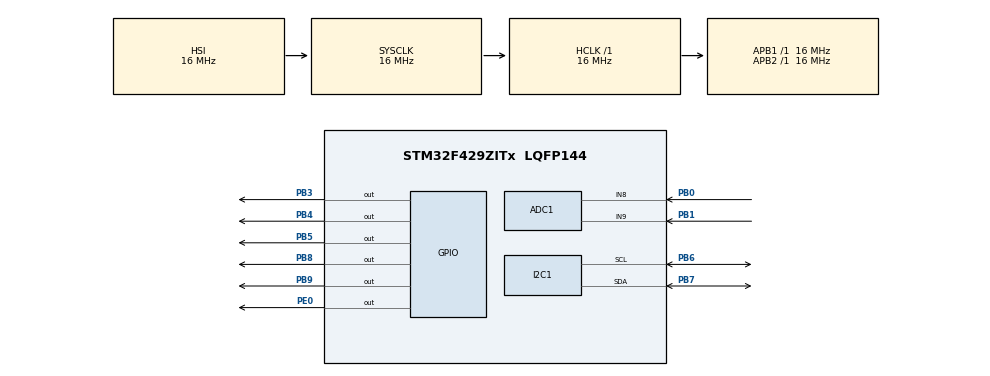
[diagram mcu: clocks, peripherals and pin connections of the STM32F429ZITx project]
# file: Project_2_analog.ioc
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ADC1.Channel-2\#ChannelRegularConversion=ADC_CHANNEL_8
ADC1.NbrOfConversionFlag=1
ADC1.Rank-2\#ChannelRegularConversion=1
ADC1.SamplingTime-2\#ChannelRegularConversion=ADC_SAMPLETIME_3CYCLES
ADC1.master=1
Mcu.Family=STM32F4
Mcu.Name=STM32F429ZITx
Mcu.Package=LQFP144
NVIC.ADC_IRQn=true\:0\:0\:false\:false\:true\:true\:true
NVIC.PriorityGroup=NVIC_PRIORITYGROUP_4
PB0.Signal=ADCx_IN8
PB1.Signal=ADCx_IN9
PB3.Signal=GPIO_Output
PB4.Signal=GPIO_Output
PB5.Signal=GPIO_Output
PB6.Mode=I2C
PB6.Signal=I2C1_SCL
PB7.Mode=I2C
PB7.Signal=I2C1_SDA
PB8.Signal=GPIO_Output
PB9.Signal=GPIO_Output
PE0.Signal=GPIO_Output
PH0/OSC_IN.Mode=HSE-External-Oscillator
PH0/OSC_IN.Signal=RCC_OSC_IN
PH1/OSC_OUT.Mode=HSE-External-Oscillator
PH1/OSC_OUT.Signal=RCC_OSC_OUT
ProjectManager.HeapSize=0x200
ProjectManager.StackSize=0x400
ProjectManager.TargetToolchain=STM32CubeIDE
RCC.48MHZClocksFreq_Value=48000000
RCC.AHBFreq_Value=16000000
RCC.APB1Freq_Value=16000000
RCC.APB1TimFreq_Value=16000000
RCC.APB2Freq_Value=16000000
RCC.APB2TimFreq_Value=16000000
RCC.CortexFreq_Value=16000000
RCC.HCLKFreq_Value=16000000
RCC.HSE_VALUE=25000000
RCC.HSI_VALUE=16000000
RCC.LSE_VALUE=32768
RCC.SYSCLKFreq_VALUE=16000000
RCC.VCOOutputFreq_Value=192000000
SH.ADCx_IN8.0=ADC1_IN8,IN8
SH.ADCx_IN9.0=ADC1_IN9,IN9
board=custom

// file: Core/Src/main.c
/* USER CODE BEGIN Header */
/**
  ******************************************************************************
  * @file           : main.c
  * @brief          : Main program body
  ******************************************************************************
  * @attention
  *
  * <h2><center>&copy; Copyright (c) 2022 STMicroelectronics.
  * All rights reserved.</center></h2>
  *
  * This software component is licensed by ST under BSD 3-Clause license,
  * the "License"; You may not use this file except in compliance with the
  * License. You may obtain a copy of the License at:
  *                        opensource.org/licenses/BSD-3-Clause
  *
  ******************************************************************************
  */
/* USER CODE END Header */

#include "main.h"

/* USER CODE BEGIN Includes */

#include <stdio.h>
#include <string.h>
#include "liquidcrystal_i2c.h"

/* USER CODE END Includes */

ADC_HandleTypeDef hadc1;

I2C_HandleTypeDef hi2c1;

void SystemClock_Config(void);
static void MX_GPIO_Init(void);
static void MX_I2C1_Init(void);
static void MX_ADC1_Init(void);

/* USER CODE BEGIN 0 */
float tempC, tempF;
int statusC = 0, statusF = 0;;
int count = 0;

void clear_lcd()
{
	if(tempC > 100)
	{
		statusC = 1;
	}
	if(tempF > 100)
	{
		statusF = 1;
	}
	if((tempC < 100 && statusC == 1) || (tempF < 100 && statusF == 1)){
		HD44780_Clear();
		statusC = 0;
		statusF = 0;
	}
}

float convert_data(int raw, char mode){
	float c = (float)raw/(float)10.5;
	if(mode == 'C') return c;
	if(mode == 'K') return c = (c*1.8) + 32;
	return 0.0;
}

uint16_t checkTemp(int range_of_tempC, int reage_of_tempF){
  uint16_t set_led[] = {0x3f /*>= 100*/, 0x3c /*>= 80*/, 0x38 /*>= 60*/, 0x30 /*>= 40*/, 0x20 /*>= 20*/, 0x00 /*>= 0*/};
  for (int i = 100;i<5;i -= 20){
    if(range_of_tempC >= i) return set_led[i];
    else return set_led[5];
  }
}

void led_display(int range_of_tempC, int reage_of_tempF){
  // C mode
  uint16_t set_led = checkTemp(range_of_tempC, reage_of_tempF);
  uint16_t pin[] = {GPIO_PIN_4, GPIO_PIN_5, GPIO_PIN_3, GPIO_PIN_8,GPIO_PIN_9, GPIO_PIN_0};
  for(int i=0;i<6;i++){
    HAL_GPIO_WritePin(GPIOB, pin[i], (set_led & (0x01<<i))>>i);
  }
}

/* USER CODE END 0 */

int main(void)
{
  /* USER CODE BEGIN 1 */
	int raw = 0;
	char msg[100];

  /* USER CODE END 1 */

  /* MCU Configuration--------------------------------------------------------*/

  /* Reset of all peripherals, Initializes the Flash interface and the Systick. */
  HAL_Init();

  /* Configure the system clock */
  SystemClock_Config();

  /* Initialize all configured peripherals */
  MX_GPIO_Init();
  MX_I2C1_Init();
  MX_ADC1_Init();
  /* USER CODE BEGIN 2 */

	HD44780_Init(2); // Define row
	HD44780_Clear(); // Clear Display
	HD44780_Backlight(); // Turn on Light
	HAL_ADC_Start(&hadc1);

  /* USER CODE END 2 */

  /* Infinite loop */
  while (1)
  {

    /* USER CODE BEGIN 3 */

	  // Read Temperature
	  HAL_ADC_Start(&hadc1);
	  HAL_ADC_PollForConversion(&hadc1, HAL_MAX_DELAY);
	  raw = HAL_ADC_GetValue(&hadc1);
	  HAL_ADC_Stop(&hadc1);

	  //Display
	  HD44780_Backlight();
	  tempC = convert_data(raw, 'C');
	  sprintf(msg, "TempC : %.1f C", tempC);
	  HD44780_SetCursor(0,0);
	  HD44780_PrintStr(msg);
	  tempF = convert_data(raw, 'K');
	  sprintf(msg, "TempF : %.1f F", tempF);
	  HD44780_SetCursor(0,1);
	  HD44780_PrintStr(msg);
	  clear_lcd();
	  led_display(int tempC, int tempF);
	  HAL_Delay(100);
	  count++;
	  if(count == 3) count =0;
  }
  /* USER CODE END 3 */
}

void SystemClock_Config(void)
{
  RCC_OscInitTypeDef RCC_OscInitStruct = {0};
  RCC_ClkInitTypeDef RCC_ClkInitStruct = {0};

  /** Configure the main internal regulator output voltage
  */
  __HAL_RCC_PWR_CLK_ENABLE();
  __HAL_PWR_VOLTAGESCALING_CONFIG(PWR_REGULATOR_VOLTAGE_SCALE3);
  /** Initializes the CPU, AHB and APB busses clocks
  */
  RCC_OscInitStruct.OscillatorType = RCC_OSCILLATORTYPE_HSI;
  RCC_OscInitStruct.HSIState = RCC_HSI_ON;
  RCC_OscInitStruct.HSICalibrationValue = RCC_HSICALIBRATION_DEFAULT;
  RCC_OscInitStruct.PLL.PLLState = RCC_PLL_NONE;
  if (HAL_RCC_OscConfig(&RCC_OscInitStruct) != HAL_OK)
  {
    Error_Handler();
  }
  /** Initializes the CPU, AHB and APB busses clocks
  */
  RCC_ClkInitStruct.ClockType = RCC_CLOCKTYPE_HCLK|RCC_CLOCKTYPE_SYSCLK
                              |RCC_CLOCKTYPE_PCLK1|RCC_CLOCKTYPE_PCLK2;
  RCC_ClkInitStruct.SYSCLKSource = RCC_SYSCLKSOURCE_HSI;
  RCC_ClkInitStruct.AHBCLKDivider = RCC_SYSCLK_DIV1;
  RCC_ClkInitStruct.APB1CLKDivider = RCC_HCLK_DIV1;
  RCC_ClkInitStruct.APB2CLKDivider = RCC_HCLK_DIV1;

  if (HAL_RCC_ClockConfig(&RCC_ClkInitStruct, FLASH_LATENCY_0) != HAL_OK)
  {
    Error_Handler();
  }
}

static void MX_ADC1_Init(void)
{

  ADC_ChannelConfTypeDef sConfig = {0};

  /** Configure the global features of the ADC (Clock, Resolution, Data Alignment and number of conversion)
  */
  hadc1.Instance = ADC1;
  hadc1.Init.ClockPrescaler = ADC_CLOCK_SYNC_PCLK_DIV2;
  hadc1.Init.Resolution = ADC_RESOLUTION_12B;
  hadc1.Init.ScanConvMode = DISABLE;
  hadc1.Init.ContinuousConvMode = DISABLE;
  hadc1.Init.DiscontinuousConvMode = DISABLE;
  hadc1.Init.ExternalTrigConvEdge = ADC_EXTERNALTRIGCONVEDGE_NONE;
  hadc1.Init.ExternalTrigConv = ADC_SOFTWARE_START;
  hadc1.Init.DataAlign = ADC_DATAALIGN_RIGHT;
  hadc1.Init.NbrOfConversion = 1;
  hadc1.Init.DMAContinuousRequests = DISABLE;
  hadc1.Init.EOCSelection = ADC_EOC_SINGLE_CONV;
  if (HAL_ADC_Init(&hadc1) != HAL_OK)
  {
    Error_Handler();
  }
  /** Configure for the selected ADC regular channel its corresponding rank in the sequencer and its sample time.
  */
  sConfig.Channel = ADC_CHANNEL_8;
  sConfig.Rank = 1;
  sConfig.SamplingTime = ADC_SAMPLETIME_3CYCLES;
  if (HAL_ADC_ConfigChannel(&hadc1, &sConfig) != HAL_OK)
  {
    Error_Handler();
  }

}

static void MX_I2C1_Init(void)
{

  hi2c1.Instance = I2C1;
  hi2c1.Init.ClockSpeed = 100000;
  hi2c1.Init.DutyCycle = I2C_DUTYCYCLE_2;
  hi2c1.Init.OwnAddress1 = 0;
  hi2c1.Init.AddressingMode = I2C_ADDRESSINGMODE_7BIT;
  hi2c1.Init.DualAddressMode = I2C_DUALADDRESS_DISABLE;
  hi2c1.Init.OwnAddress2 = 0;
  hi2c1.Init.GeneralCallMode = I2C_GENERALCALL_DISABLE;
  hi2c1.Init.NoStretchMode = I2C_NOSTRETCH_DISABLE;
  if (HAL_I2C_Init(&hi2c1) != HAL_OK)
  {
    Error_Handler();
  }
  /** Configure Analogue filter
  */
  if (HAL_I2CEx_ConfigAnalogFilter(&hi2c1, I2C_ANALOGFILTER_ENABLE) != HAL_OK)
  {
    Error_Handler();
  }
  /** Configure Digital filter
  */
  if (HAL_I2CEx_ConfigDigitalFilter(&hi2c1, 0) != HAL_OK)
  {
    Error_Handler();
  }

}

static void MX_GPIO_Init(void)
{
  GPIO_InitTypeDef GPIO_InitStruct = {0};

  /* GPIO Ports Clock Enable */
  __HAL_RCC_GPIOH_CLK_ENABLE();
  __HAL_RCC_GPIOB_CLK_ENABLE();
  __HAL_RCC_GPIOE_CLK_ENABLE();

  /*Configure GPIO pin Output Level */
  HAL_GPIO_WritePin(GPIOB, GPIO_PIN_3|GPIO_PIN_4|GPIO_PIN_5|GPIO_PIN_8
                          |GPIO_PIN_9, GPIO_PIN_RESET);

  /*Configure GPIO pin Output Level */
  HAL_GPIO_WritePin(GPIOE, GPIO_PIN_0, GPIO_PIN_RESET);

  /*Configure GPIO pins : PB3 PB4 PB5 PB8
                           PB9 */
  GPIO_InitStruct.Pin = GPIO_PIN_3|GPIO_PIN_4|GPIO_PIN_5|GPIO_PIN_8
                          |GPIO_PIN_9;
  GPIO_InitStruct.Mode = GPIO_MODE_OUTPUT_PP;
  GPIO_InitStruct.Pull = GPIO_NOPULL;
  GPIO_InitStruct.Speed = GPIO_SPEED_FREQ_LOW;
  HAL_GPIO_Init(GPIOB, &GPIO_InitStruct);

  /*Configure GPIO pin : PE0 */
  GPIO_InitStruct.Pin = GPIO_PIN_0;
  GPIO_InitStruct.Mode = GPIO_MODE_OUTPUT_PP;
  GPIO_InitStruct.Pull = GPIO_NOPULL;
  GPIO_InitStruct.Speed = GPIO_SPEED_FREQ_LOW;
  HAL_GPIO_Init(GPIOE, &GPIO_InitStruct);

}

void Error_Handler(void)
{
}

/************************ (C) COPYRIGHT STMicroelectronics *****END OF FILE****/
